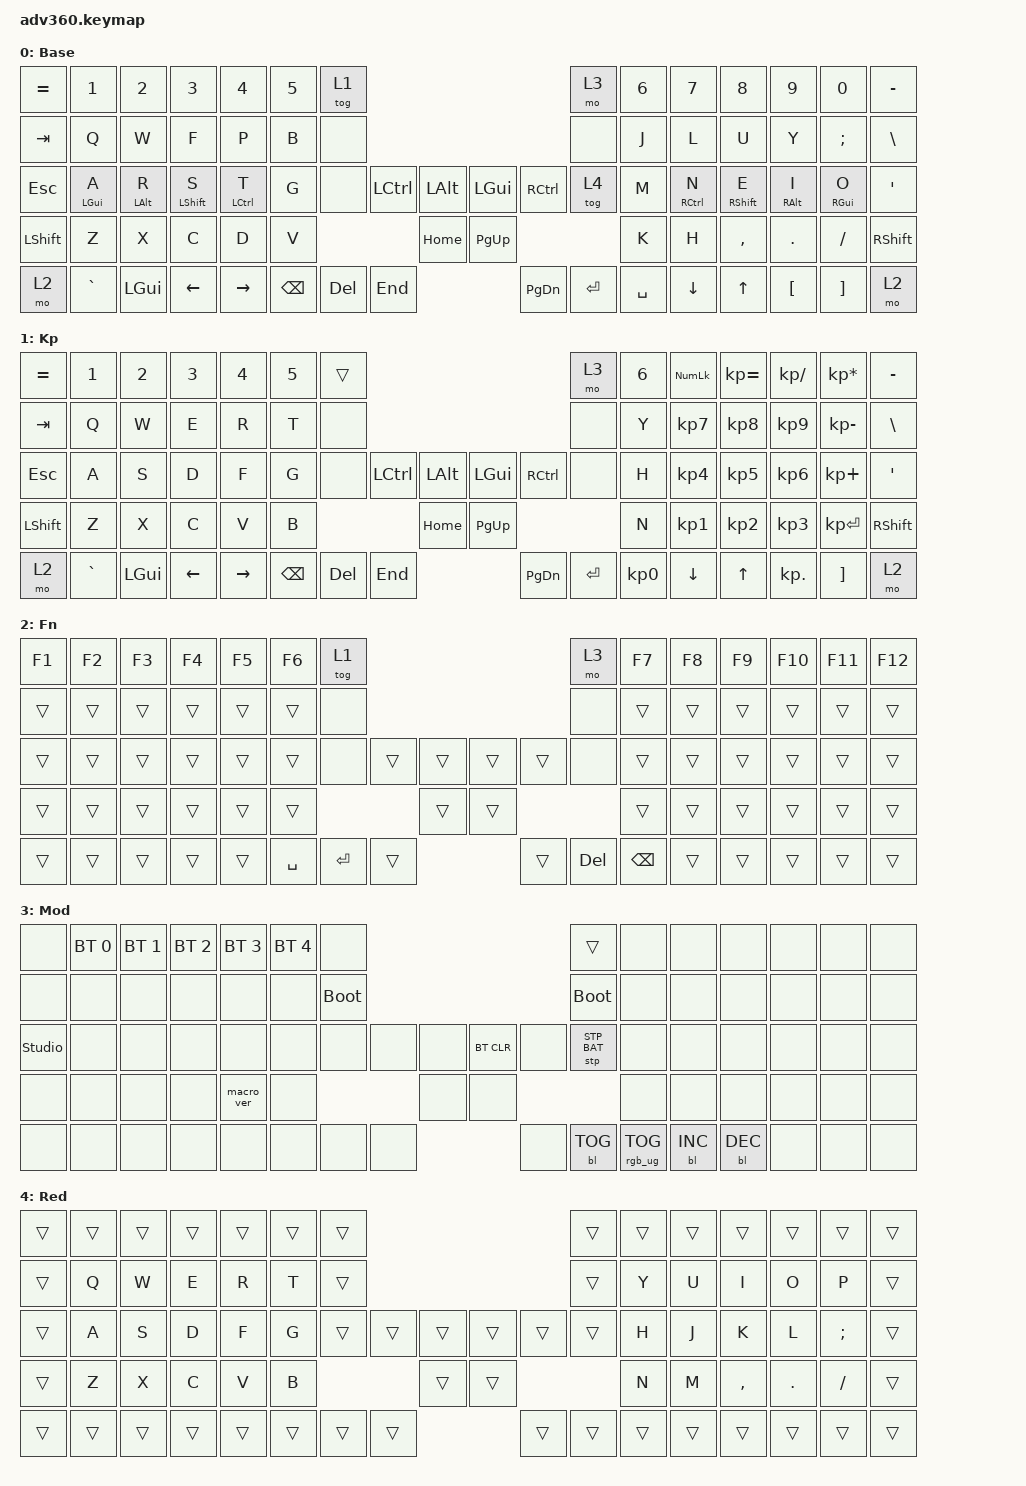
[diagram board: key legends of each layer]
#include <behaviors.dtsi>
#include <dt-bindings/zmk/keys.h>
#include <dt-bindings/zmk/bt.h>
#include <dt-bindings/zmk/rgb.h>
#include <dt-bindings/zmk/stp.h>
#include <dt-bindings/zmk/backlight.h>
#include <dt-bindings/zmk/pointing.h>

/ {
    behaviors {
      #include "macros.dtsi"
      #include "version.dtsi"

      hm_l: homerow_left {
          compatible = "zmk,behavior-hold-tap";
          #binding-cells = <2>;
          tapping-term-ms = <280>;
          quick-tap-ms = <175>;
          require-prior-idle-ms = <150>;
          flavor = "tap-preferred";
          hold-trigger-key-positions = <7 8 9 10 11 12 13 21 22 23 24 25 26 27 37 38 39 40 41 42 43 44 45 53 54 55 56 57 58 59 68 69 70 71 72 73 74 75>;
          bindings = <&kp>, <&kp>;
      };

      hm_r: homerow_right {
          compatible = "zmk,behavior-hold-tap";
          #binding-cells = <2>;
          tapping-term-ms = <280>;
          quick-tap-ms = <175>;
          require-prior-idle-ms = <150>;
          flavor = "tap-preferred";
          hold-trigger-key-positions = <0 1 2 3 4 5 6 14 15 16 17 18 19 20 28 29 30 31 32 33 34 35 36 46 47 48 49 50 51 52 60 61 62 63 64 65 66 67>;
          bindings = <&kp>, <&kp>;
      };



    };

  keymap {
    compatible = "zmk,keymap";

    default_layer {
      display-name = "Base";
      bindings = <
        &kp EQUAL &kp N1    &kp N2   &kp N3   &kp N4     &kp N5 &tog 1                                                           &mo 3 &kp N6 &kp N7 &kp N8    &kp N9   &kp N0   &kp MINUS
        &kp TAB   &kp Q     &kp W    &kp F    &kp P      &kp B  &none                                                            &none &kp J  &kp L  &kp U     &kp Y    &kp SEMI &kp BSLH
        &kp ESC   &hm_l LGUI A &hm_l LALT R &hm_l LSHFT S &hm_l LCTRL T &kp G  &none           &kp LCTRL &kp LALT &kp LGUI  &kp RCTRL           &tog 4 &kp M  &hm_r RCTRL N &hm_r RSHFT E &hm_r RALT I &hm_r RGUI O &kp SQT
        &kp LSHFT &kp Z     &kp X    &kp C    &kp D      &kp V                            &kp HOME &kp PG_UP                           &kp K  &kp H  &kp COMMA &kp DOT  &kp FSLH &kp RSHFT
        &mo 2     &kp GRAVE &kp LGUI &kp LEFT &kp RIGHT                &kp BSPC &kp DEL   &kp END  &kp PG_DN &kp ENTER &kp SPACE              &kp DOWN &kp UP    &kp LBKT &kp RBKT &mo 2
      >;
    };
    keypad {
      display-name = "Kp";
      bindings = <
        &kp EQUAL &kp N1    &kp N2   &kp N3   &kp N4     &kp N5 &trans                                                           &mo 3 &kp N6 &kp KP_NUM &kp KP_EQUAL &kp KP_DIVIDE &kp KP_MULTIPLY &kp MINUS
        &kp TAB   &kp Q     &kp W    &kp E    &kp R      &kp T  &none                                                            &none &kp Y  &kp KP_N7  &kp KP_N8    &kp KP_N9     &kp KP_MINUS    &kp BSLH
        &kp ESC   &kp A     &kp S    &kp D    &kp F      &kp G  &none           &kp LCTRL &kp LALT &kp LGUI  &kp RCTRL           &none &kp H  &kp KP_N4  &kp KP_N5    &kp KP_N6     &kp KP_PLUS     &kp SQT
        &kp LSHFT &kp Z     &kp X    &kp C    &kp V      &kp B                            &kp HOME &kp PG_UP                           &kp N  &kp KP_N1  &kp KP_N2    &kp KP_N3     &kp KP_ENTER    &kp RSHFT
        &mo 2     &kp GRAVE &kp LGUI &kp LEFT &kp RIGHT                &kp BSPC &kp DEL   &kp END  &kp PG_DN &kp ENTER &kp KP_N0              &kp DOWN   &kp UP       &kp KP_DOT    &kp RBKT        &mo 2
      >;
    };
    fn {
      display-name = "Fn";
      bindings = <
        &kp F1 &kp F2 &kp F3 &kp F4 &kp F5 &kp F6 &tog 1                                           &mo 3 &kp F7 &kp F8 &kp F9 &kp F10 &kp F11 &kp F12
        &trans &trans &trans &trans &trans &trans  &none                                           &none &trans &trans &trans &trans  &trans  &trans
        &trans &trans &trans &trans &trans &trans  &none        &trans &trans &trans &trans        &none &trans &trans &trans &trans  &trans  &trans
        &trans &trans &trans &trans &trans &trans                      &trans &trans                     &trans &trans &trans &trans  &trans  &trans
        &trans &trans &trans &trans &trans               &kp SPACE &kp ENTER &trans &trans &kp DEL &kp BSPC           &trans &trans &trans  &trans  &trans
      >;
    };
    mod {
      display-name = "Mod";
      bindings = <
        &none &bt BT_SEL 0 &bt BT_SEL 1 &bt BT_SEL 2 &bt BT_SEL 3 &bt BT_SEL 4 &none                                                                     &trans                 &none        &none        &none        &none &none &none
        &none &none        &none        &none        &none        &none        &bootloader                                                               &bootloader            &none        &none        &none        &none &none &none
        &studio_unlock &none        &none        &none        &none        &none        &none                   &none &none &bt BT_CLR &none                      &stp STP_BAT &none        &none        &none        &none &none &none
        &none &none        &none        &none        &macro_ver   &none                                      &none &none                                                        &none        &none        &none        &none &none &none
        &none &none        &none        &none        &none                                       &none &none &none &none      &bl BL_TOG &rgb_ug RGB_TOG                                     &bl BL_INC   &bl BL_DEC   &none &none &none
      >;
    };
    extra1 {
      display-name = "Red";
      bindings = <
        &trans    &trans    &trans   &trans   &trans     &trans &trans                                                           &trans &trans &trans &trans    &trans   &trans   &trans
        &trans    &kp Q     &kp W    &kp E    &kp R      &kp T  &trans                                                           &trans &kp Y  &kp U  &kp I     &kp O    &kp P    &trans
        &trans    &kp A     &kp S    &kp D    &kp F      &kp G  &trans        &trans &trans &trans &trans                        &trans &kp H  &kp J  &kp K     &kp L    &kp SEMI &trans
        &trans    &kp Z     &kp X    &kp C    &kp V      &kp B                      &trans &trans                                      &kp N  &kp M  &kp COMMA &kp DOT  &kp FSLH &trans
        &trans    &trans    &trans   &trans   &trans                   &trans &trans  &trans &trans &trans &trans                        &trans &trans  &trans    &trans   &trans
      >;
    };

    extra2 {
      display-name = "Purple";
      status = "reserved";
    };

    extra3 {
      display-name = "Cyan";
      status = "reserved";
    };

    extra4 {
      display-name = "Yellow";
      status = "reserved";
    };
  };
};
